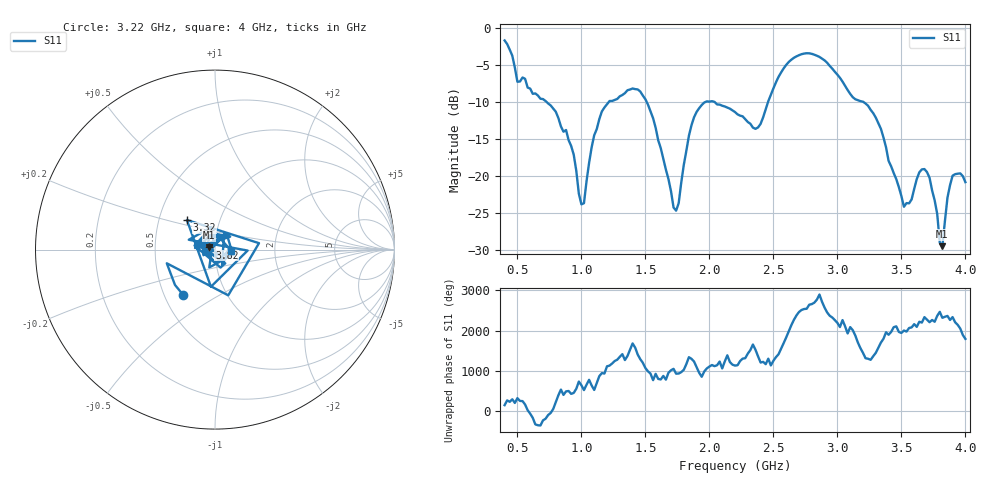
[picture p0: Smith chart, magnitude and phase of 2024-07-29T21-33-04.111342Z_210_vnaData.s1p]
!Created with skrf (http://scikit-rf.org).
# Hz S RI R 50.0
!freq ReS11 ImS11
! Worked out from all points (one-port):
!   181 points, 400 MHz to 4 GHz, reference 50 ohm
!   lowest |S11| = -29.4 dB at 3.82 GHz (marker M1), VSWR 1.07, Z = 46.9 + j1.13 ohm
!   |S11| at or under -10 dB: 727 MHz to 1.215 GHz (487.7 MHz wide, 50.2 % of centre); 1.51 GHz to 1.971 GHz (461.5 MHz wide, 26.5 % of centre); 3.202 GHz to end of sweep (the widest 3 of 4)
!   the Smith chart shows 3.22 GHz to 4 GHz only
!   S11 on the Smith chart (normalised r, x): 3.22 GHz: 0.62, -0.35; 3.32 GHz: 0.69, +0.24; 3.82 GHz: 0.94, +0.02; 4 GHz: 1.20, -0.02
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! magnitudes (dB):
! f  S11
! 400 MHz  -1.7
! 500 MHz  -7.3
! 860 MHz  -14.0
! 940 MHz  -17.1
! 1.02 GHz  -23.7
! 1.08 GHz  -16.1
! 1.16 GHz  -11.3
! 1.3 GHz  -9.2
! 1.5 GHz  -9.6
! 1.72 GHz  -24.2
! 1.76 GHz  -23.7
! 1.84 GHz  -14.6
! 1.9 GHz  -11.4
! 2.2 GHz  -11.4
! 2.38 GHz  -13.4
! 2.66 GHz  -4.1
! 2.86 GHz  -3.9
! 3.1 GHz  -8.9
! 3.22 GHz  -10.2
! 3.32 GHz  -12.9
! 3.52 GHz  -24.1
! 3.56 GHz  -23.7
! 3.64 GHz  -19.5
! 3.7 GHz  -19.5
! 3.82 GHz  -29.4
! 3.86 GHz  -22.9
! 3.9 GHz  -19.9
! 4 GHz  -20.8
